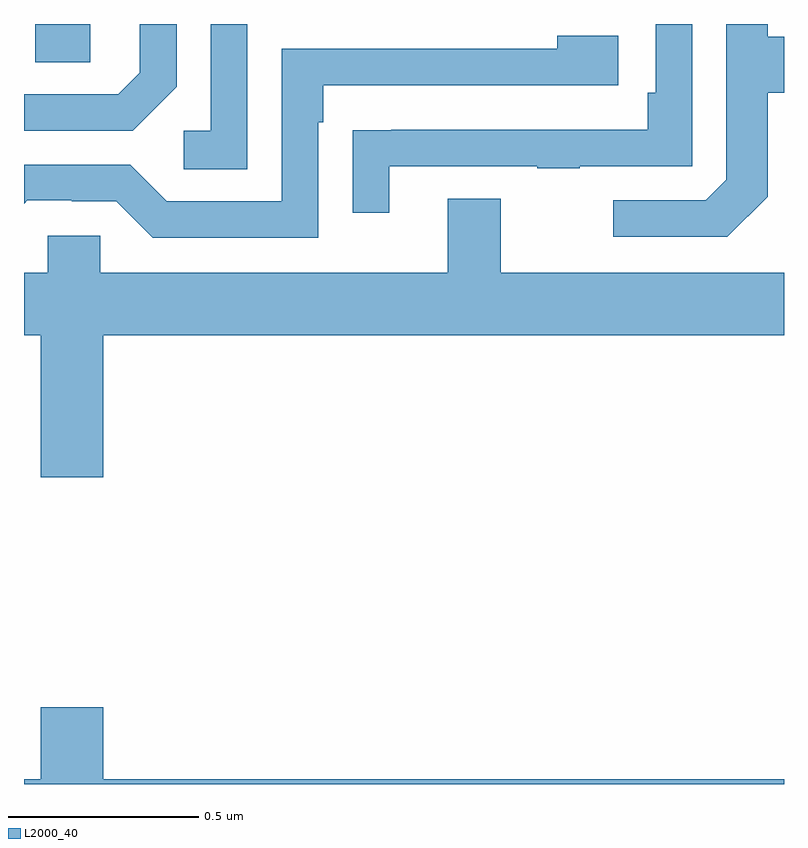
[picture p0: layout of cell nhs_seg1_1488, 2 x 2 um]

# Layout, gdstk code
import gdstk
lib = gdstk.Library(unit=1e-6, precision=1e-09)
def R(c, l, rs):  # rectangles x0, y0, x1, y1
    for r in rs: c.add(gdstk.rectangle(r[:2], r[2:], *l))
def P(c, l, *ps):  # polygons
    for p in ps: c.add(gdstk.Polygon(p, *l))
L2000_40 = (2000, 40)

nhs_seg1_1488 = lib.new_cell('nhs_seg1_1488')
R(nhs_seg1_1488, L2000_40, [(129.029,571.099,129.174,571.199)])
P(nhs_seg1_1488, L2000_40, [(129.588,571.199),(129.492,571.199),(129.492,570.918),(129.42,570.918),(129.42,570.817),(129.588,570.817)],
  [(129.402,571.034),(129.402,571.199),(129.305,571.199),(129.305,571.071),(129.248,571.014),(129,571.014),(129,570.918),(129.286,570.918)],
  [(129.961,570.825),(130.351,570.825),(130.351,570.82),(130.463,570.82),(130.463,570.825),(130.758,570.825),(130.758,571.199),(130.662,571.199),(130.662,571.018),(130.642,571.018),(130.642,570.921),(129.967,570.921),(129.967,570.92),(129.865,570.92),(129.865,570.702),(129.961,570.702)],
  [(130.957,570.745),(130.957,571.018),(131,571.018),(131,571.165),(130.957,571.165),(130.957,571.199),(130.848,571.199),(130.848,570.789),(130.794,570.735),(130.551,570.735),(130.551,570.639),(130.851,570.639)],
  [(129.774,570.941),(129.787,570.941),(129.787,571.038),(130.564,571.038),(130.564,571.168),(130.403,571.168),(130.403,571.134),(129.678,571.134),(129.678,570.732),(129.375,570.732),(129.279,570.828),(129,570.828),(129,570.726),(129.009,570.735),(129.125,570.735),(129.125,570.732),(129.243,570.732),(129.339,570.636),(129.774,570.636)],
  [(129.208,570.38),(131,570.38),(131,570.544),(130.255,570.544),(130.255,570.739),(130.115,570.739),(130.115,570.544),(129.201,570.544),(129.201,570.642),(129.063,570.642),(129.063,570.544),(129,570.544),(129,570.38),(129.044,570.38),(129.044,570.006),(129.208,570.006)],
  [(131,569.212),(129.208,569.212),(129.208,569.401),(129.044,569.401),(129.044,569.212),(129,569.212),(129,569.199),(131,569.199)])

lib.write_gds('nhs_seg1_1488.gds')
